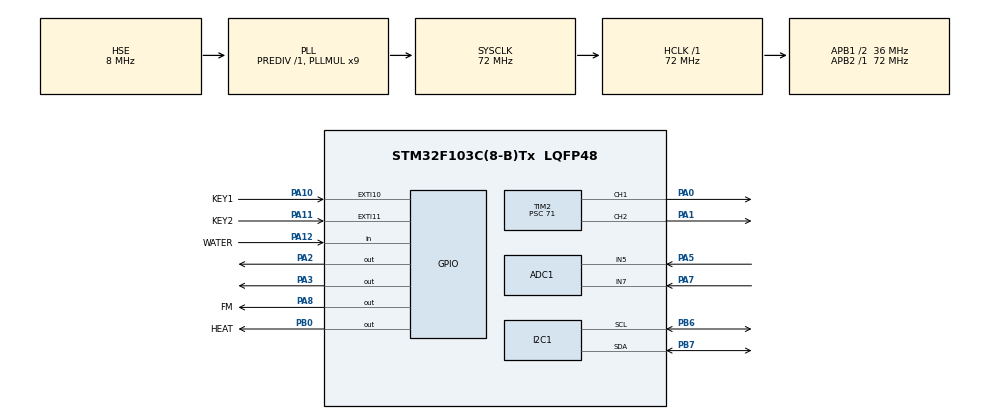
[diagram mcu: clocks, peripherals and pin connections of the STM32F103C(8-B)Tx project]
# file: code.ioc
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ADC1.Channel-1\#ChannelRegularConversion=ADC_CHANNEL_5
ADC1.Channel-2\#ChannelRegularConversion=ADC_CHANNEL_7
ADC1.ContinuousConvMode=ENABLE
ADC1.NbrOfConversion=2
ADC1.NbrOfConversionFlag=1
ADC1.Rank-1\#ChannelRegularConversion=1
ADC1.Rank-2\#ChannelRegularConversion=2
ADC1.SamplingTime-1\#ChannelRegularConversion=ADC_SAMPLETIME_71CYCLES_5
ADC1.SamplingTime-2\#ChannelRegularConversion=ADC_SAMPLETIME_71CYCLES_5
ADC1.master=1
Dma.ADC1.0.Direction=DMA_PERIPH_TO_MEMORY
Dma.ADC1.0.Instance=DMA1_Channel1
Dma.ADC1.0.MemDataAlignment=DMA_MDATAALIGN_HALFWORD
Dma.ADC1.0.MemInc=DMA_MINC_ENABLE
Dma.ADC1.0.Mode=DMA_CIRCULAR
Dma.ADC1.0.PeriphDataAlignment=DMA_PDATAALIGN_HALFWORD
Dma.ADC1.0.PeriphInc=DMA_PINC_DISABLE
Dma.ADC1.0.Priority=DMA_PRIORITY_LOW
Dma.Request0=ADC1
I2C1.DutyCycle=I2C_DUTYCYCLE_16_9
I2C1.GeneralCallMode=I2C_GENERALCALL_DISABLE
I2C1.I2C_Mode=I2C_Fast
I2C1.NoStretchMode=I2C_NOSTRETCH_DISABLE
I2C1.OwnAddress=58
Mcu.Family=STM32F1
Mcu.Name=STM32F103C(8-B)Tx
Mcu.Package=LQFP48
NVIC.ADC1_2_IRQn=true\:0\:0\:false\:false\:true\:true\:true
NVIC.DMA1_Channel1_IRQn=true\:0\:0\:false\:false\:true\:false\:true
NVIC.EXTI15_10_IRQn=true\:0\:0\:false\:false\:true\:true\:true
NVIC.PriorityGroup=NVIC_PRIORITYGROUP_4
PA0-WKUP.Signal=S_TIM2_CH1_ETR
PA1.Signal=S_TIM2_CH2
PA10.GPIO_Label=KEY1
PA10.GPIO_ModeDefaultEXTI=GPIO_MODE_IT_FALLING
PA10.GPIO_PuPd=GPIO_PULLUP
PA10.Signal=GPXTI10
PA11.GPIO_Label=KEY2
PA11.GPIO_ModeDefaultEXTI=GPIO_MODE_IT_FALLING
PA11.GPIO_PuPd=GPIO_PULLUP
PA11.Signal=GPXTI11
PA12.GPIO_Label=WATER
PA12.GPIO_PuPd=GPIO_PULLUP
PA12.Signal=GPIO_Input
PA13.Mode=Serial_Wire
PA13.Signal=SYS_JTMS-SWDIO
PA14.Mode=Serial_Wire
PA14.Signal=SYS_JTCK-SWCLK
PA2.Signal=GPIO_Output
PA3.Signal=GPIO_Output
PA5.Signal=ADCx_IN5
PA7.Signal=ADCx_IN7
PA8.GPIO_Label=FM
PA8.PinState=GPIO_PIN_SET
PA8.Signal=GPIO_Output
PB0.GPIO_Label=HEAT
PB0.Signal=GPIO_Output
PB6.Mode=I2C
PB6.Signal=I2C1_SCL
PB7.Mode=I2C
PB7.Signal=I2C1_SDA
PD0-OSC_IN.Mode=HSE-External-Oscillator
PD0-OSC_IN.Signal=RCC_OSC_IN
PD1-OSC_OUT.Mode=HSE-External-Oscillator
PD1-OSC_OUT.Signal=RCC_OSC_OUT
ProjectManager.HeapSize=0x200
ProjectManager.StackSize=0x400
ProjectManager.TargetToolchain=MDK-ARM V5.27
RCC.ADCPresc=RCC_ADCPCLK2_DIV6
RCC.AHBFreq_Value=72000000
RCC.APB1CLKDivider=RCC_HCLK_DIV2
RCC.APB1Freq_Value=36000000
RCC.APB1TimFreq_Value=72000000
RCC.APB2Freq_Value=72000000
RCC.APB2TimFreq_Value=72000000
RCC.HCLKFreq_Value=72000000
RCC.PLLMUL=RCC_PLL_MUL9
RCC.PLLSourceVirtual=RCC_PLLSOURCE_HSE
RCC.SYSCLKFreq_VALUE=72000000
RCC.SYSCLKSource=RCC_SYSCLKSOURCE_PLLCLK
RCC.USBFreq_Value=72000000
SH.ADCx_IN5.0=ADC1_IN5,IN5
SH.ADCx_IN7.0=ADC1_IN7,IN7
SH.S_TIM2_CH1_ETR.0=TIM2_CH1,PWM Generation1 CH1
SH.S_TIM2_CH2.0=TIM2_CH2,PWM Generation2 CH2
TIM2.Channel-PWM\ Generation1\ CH1=TIM_CHANNEL_1
TIM2.Channel-PWM\ Generation2\ CH2=TIM_CHANNEL_2
TIM2.Period=999
TIM2.Prescaler=71
board=custom

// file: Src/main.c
/* USER CODE BEGIN Header */
/**
  ******************************************************************************
  * @file           : main.c
  * @brief          : Main program body
  ******************************************************************************
  * @attention
  *
  * <h2><center>&copy; Copyright (c) 2021 STMicroelectronics.
  * All rights reserved.</center></h2>
  *
  * This software component is licensed by ST under BSD 3-Clause license,
  * the "License"; You may not use this file except in compliance with the
  * License. You may obtain a copy of the License at:
  *                        opensource.org/licenses/BSD-3-Clause
  *
  ******************************************************************************
  */
/* USER CODE END Header */

#include "main.h"

/* USER CODE BEGIN Includes */
#include "i2c_oled.h"
#include "fm.h"
#include "adc.h"
#include "app.h"

/* USER CODE END Includes */

ADC_HandleTypeDef hadc1;
DMA_HandleTypeDef hdma_adc1;

I2C_HandleTypeDef hi2c1;

TIM_HandleTypeDef htim2;

void SystemClock_Config(void);
static void MX_GPIO_Init(void);
static void MX_DMA_Init(void);
static void MX_ADC1_Init(void);
static void MX_TIM2_Init(void);
 void MX_I2C1_Init(void);

/* USER CODE BEGIN 0 */
void KEY_Scan()
{
	static uint8_t key_flag=1;
	if(HAL_GPIO_ReadPin(GPIOA, KEY1_Pin)== 0||HAL_GPIO_ReadPin(GPIOA, KEY2_Pin)== 0)
		 HAL_Delay(10);
  if(HAL_GPIO_ReadPin(GPIOA, KEY1_Pin)== 0)
  {

	  getParams()->KeyStatus = 0x01;

  }
  if(HAL_GPIO_ReadPin(GPIOA, KEY2_Pin)== 0)
  {

	  getParams()->KeyStatus = 0x02;

  }
}
/* USER CODE END 0 */

int main(void)
{

  /* MCU Configuration--------------------------------------------------------*/

  /* Reset of all peripherals, Initializes the Flash interface and the Systick. */
  HAL_Init();

  /* Configure the system clock */
  SystemClock_Config();

  /* Initialize all configured peripherals */
  MX_GPIO_Init();
  MX_DMA_Init();
  MX_ADC1_Init();
  MX_TIM2_Init();
  MX_I2C1_Init();
  /* USER CODE BEGIN 2 */
    OLED_Init();									  //OLED初始化
    OLED_Clear(); 								  //OLED清屏
    FM_OFF(); 										  //关闭蜂鸣器
    oled_process(9); 						  //OLED显示摄氏度
    ADCx_Mode_Init(); 						  //ADC模式配置
    //oled_test();
    Params_Init();
   HAL_TIM_PWM_Start(&htim2,TIM_CHANNEL_1);
   HAL_TIM_PWM_Start(&htim2,TIM_CHANNEL_2);
  /* USER CODE END 2 */

  /* Infinite loop */
    while (1)
    {

    /* USER CODE BEGIN 3 */
		//	KEY_Scan();
        app_process();
    }
  /* USER CODE END 3 */
}

void SystemClock_Config(void)
{
  RCC_OscInitTypeDef RCC_OscInitStruct = {0};
  RCC_ClkInitTypeDef RCC_ClkInitStruct = {0};
  RCC_PeriphCLKInitTypeDef PeriphClkInit = {0};

  /** Initializes the CPU, AHB and APB busses clocks
  */
  RCC_OscInitStruct.OscillatorType = RCC_OSCILLATORTYPE_HSE;
  RCC_OscInitStruct.HSEState = RCC_HSE_ON;
  RCC_OscInitStruct.HSEPredivValue = RCC_HSE_PREDIV_DIV1;
  RCC_OscInitStruct.HSIState = RCC_HSI_ON;
  RCC_OscInitStruct.PLL.PLLState = RCC_PLL_ON;
  RCC_OscInitStruct.PLL.PLLSource = RCC_PLLSOURCE_HSE;
  RCC_OscInitStruct.PLL.PLLMUL = RCC_PLL_MUL9;
  if (HAL_RCC_OscConfig(&RCC_OscInitStruct) != HAL_OK)
  {
    Error_Handler();
  }
  /** Initializes the CPU, AHB and APB busses clocks
  */
  RCC_ClkInitStruct.ClockType = RCC_CLOCKTYPE_HCLK|RCC_CLOCKTYPE_SYSCLK
                              |RCC_CLOCKTYPE_PCLK1|RCC_CLOCKTYPE_PCLK2;
  RCC_ClkInitStruct.SYSCLKSource = RCC_SYSCLKSOURCE_PLLCLK;
  RCC_ClkInitStruct.AHBCLKDivider = RCC_SYSCLK_DIV1;
  RCC_ClkInitStruct.APB1CLKDivider = RCC_HCLK_DIV2;
  RCC_ClkInitStruct.APB2CLKDivider = RCC_HCLK_DIV1;

  if (HAL_RCC_ClockConfig(&RCC_ClkInitStruct, FLASH_LATENCY_2) != HAL_OK)
  {
    Error_Handler();
  }
  PeriphClkInit.PeriphClockSelection = RCC_PERIPHCLK_ADC;
  PeriphClkInit.AdcClockSelection = RCC_ADCPCLK2_DIV6;
  if (HAL_RCCEx_PeriphCLKConfig(&PeriphClkInit) != HAL_OK)
  {
    Error_Handler();
  }
}

static void MX_ADC1_Init(void)
{

  ADC_ChannelConfTypeDef sConfig = {0};

  /** Common config
  */
  hadc1.Instance = ADC1;
  hadc1.Init.ScanConvMode = ADC_SCAN_ENABLE;
  hadc1.Init.ContinuousConvMode = ENABLE;
  hadc1.Init.DiscontinuousConvMode = DISABLE;
  hadc1.Init.ExternalTrigConv = ADC_SOFTWARE_START;
  hadc1.Init.DataAlign = ADC_DATAALIGN_RIGHT;
  hadc1.Init.NbrOfConversion = 2;
  if (HAL_ADC_Init(&hadc1) != HAL_OK)
  {
    Error_Handler();
  }
  /** Configure Regular Channel
  */
  sConfig.Channel = ADC_CHANNEL_5;
  sConfig.Rank = ADC_REGULAR_RANK_1;
  sConfig.SamplingTime = ADC_SAMPLETIME_71CYCLES_5;
  if (HAL_ADC_ConfigChannel(&hadc1, &sConfig) != HAL_OK)
  {
    Error_Handler();
  }
  /** Configure Regular Channel
  */
  sConfig.Channel = ADC_CHANNEL_7;
  sConfig.Rank = ADC_REGULAR_RANK_2;
  if (HAL_ADC_ConfigChannel(&hadc1, &sConfig) != HAL_OK)
  {
    Error_Handler();
  }

}

 void MX_I2C1_Init(void)
{

  hi2c1.Instance = I2C1;
  hi2c1.Init.ClockSpeed = 400000;
  hi2c1.Init.DutyCycle = I2C_DUTYCYCLE_16_9;
  hi2c1.Init.OwnAddress1 = 116;
  hi2c1.Init.AddressingMode = I2C_ADDRESSINGMODE_7BIT;
  hi2c1.Init.DualAddressMode = I2C_DUALADDRESS_DISABLE;
  hi2c1.Init.OwnAddress2 = 0;
  hi2c1.Init.GeneralCallMode = I2C_GENERALCALL_DISABLE;
  hi2c1.Init.NoStretchMode = I2C_NOSTRETCH_DISABLE;
  if (HAL_I2C_Init(&hi2c1) != HAL_OK)
  {
    Error_Handler();
  }

}

static void MX_TIM2_Init(void)
{

  TIM_MasterConfigTypeDef sMasterConfig = {0};
  TIM_OC_InitTypeDef sConfigOC = {0};

  htim2.Instance = TIM2;
  htim2.Init.Prescaler = 71;
  htim2.Init.CounterMode = TIM_COUNTERMODE_UP;
  htim2.Init.Period = 999;
  htim2.Init.ClockDivision = TIM_CLOCKDIVISION_DIV1;
  htim2.Init.AutoReloadPreload = TIM_AUTORELOAD_PRELOAD_DISABLE;
  if (HAL_TIM_PWM_Init(&htim2) != HAL_OK)
  {
    Error_Handler();
  }
  sMasterConfig.MasterOutputTrigger = TIM_TRGO_RESET;
  sMasterConfig.MasterSlaveMode = TIM_MASTERSLAVEMODE_DISABLE;
  if (HAL_TIMEx_MasterConfigSynchronization(&htim2, &sMasterConfig) != HAL_OK)
  {
    Error_Handler();
  }
  sConfigOC.OCMode = TIM_OCMODE_PWM1;
  sConfigOC.Pulse = 0;
  sConfigOC.OCPolarity = TIM_OCPOLARITY_HIGH;
  sConfigOC.OCFastMode = TIM_OCFAST_DISABLE;
  if (HAL_TIM_PWM_ConfigChannel(&htim2, &sConfigOC, TIM_CHANNEL_1) != HAL_OK)
  {
    Error_Handler();
  }
  if (HAL_TIM_PWM_ConfigChannel(&htim2, &sConfigOC, TIM_CHANNEL_2) != HAL_OK)
  {
    Error_Handler();
  }
  HAL_TIM_MspPostInit(&htim2);

}

static void MX_DMA_Init(void)
{

  /* DMA controller clock enable */
  __HAL_RCC_DMA1_CLK_ENABLE();

  /* DMA interrupt init */
  /* DMA1_Channel1_IRQn interrupt configuration */
  HAL_NVIC_SetPriority(DMA1_Channel1_IRQn, 0, 0);
  HAL_NVIC_EnableIRQ(DMA1_Channel1_IRQn);

}

static void MX_GPIO_Init(void)
{
  GPIO_InitTypeDef GPIO_InitStruct = {0};

  /* GPIO Ports Clock Enable */
  __HAL_RCC_GPIOD_CLK_ENABLE();
  __HAL_RCC_GPIOA_CLK_ENABLE();
  __HAL_RCC_GPIOB_CLK_ENABLE();

  /*Configure GPIO pin Output Level */
  HAL_GPIO_WritePin(GPIOA, GPIO_PIN_2|GPIO_PIN_3, GPIO_PIN_RESET);

  /*Configure GPIO pin Output Level */
  HAL_GPIO_WritePin(HEAT_GPIO_Port, HEAT_Pin, GPIO_PIN_RESET);

  /*Configure GPIO pin Output Level */
  HAL_GPIO_WritePin(FM_GPIO_Port, FM_Pin, GPIO_PIN_SET);

  /*Configure GPIO pins : PA2 PA3 FM_Pin */
  GPIO_InitStruct.Pin = GPIO_PIN_2|GPIO_PIN_3|FM_Pin;
  GPIO_InitStruct.Mode = GPIO_MODE_OUTPUT_PP;
  GPIO_InitStruct.Pull = GPIO_NOPULL;
  GPIO_InitStruct.Speed = GPIO_SPEED_FREQ_LOW;
  HAL_GPIO_Init(GPIOA, &GPIO_InitStruct);

  /*Configure GPIO pin : HEAT_Pin */
  GPIO_InitStruct.Pin = HEAT_Pin;
  GPIO_InitStruct.Mode = GPIO_MODE_OUTPUT_PP;
  GPIO_InitStruct.Pull = GPIO_NOPULL;
  GPIO_InitStruct.Speed = GPIO_SPEED_FREQ_LOW;
  HAL_GPIO_Init(HEAT_GPIO_Port, &GPIO_InitStruct);

  /*Configure GPIO pins : KEY1_Pin KEY2_Pin */
  GPIO_InitStruct.Pin = KEY1_Pin|KEY2_Pin;
  GPIO_InitStruct.Mode = GPIO_MODE_IT_FALLING;
  GPIO_InitStruct.Pull = GPIO_PULLUP;
  HAL_GPIO_Init(GPIOA, &GPIO_InitStruct);

  /*Configure GPIO pin : WATER_Pin */
  GPIO_InitStruct.Pin = WATER_Pin;
  GPIO_InitStruct.Mode = GPIO_MODE_INPUT;
  GPIO_InitStruct.Pull = GPIO_PULLUP;
  HAL_GPIO_Init(WATER_GPIO_Port, &GPIO_InitStruct);

  /* EXTI interrupt init*/
  HAL_NVIC_SetPriority(EXTI15_10_IRQn, 0, 0);
  HAL_NVIC_EnableIRQ(EXTI15_10_IRQn);

}

void Error_Handler(void)
{
}

/************************ (C) COPYRIGHT STMicroelectronics *****END OF FILE****/
